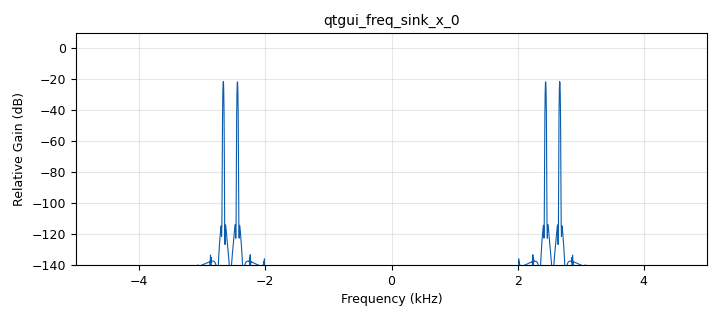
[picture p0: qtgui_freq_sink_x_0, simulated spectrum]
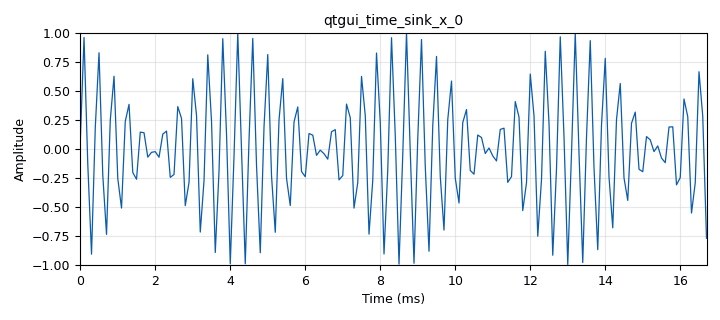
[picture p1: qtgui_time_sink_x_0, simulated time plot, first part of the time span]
options:
  parameters:
    author: Brayan_Martinez_William_Ariza_Andres_Perdomo_J1C_G5
    generate_options: qt_gui
    id: Lab_1_punto_6
    output_language: python
    title: Lab_1_punto_6_Multiply
  states: {}

blocks:
- name: freq_a
  id: variable_qtgui_range
  parameters:
    label: frecuencyA
    start: '1000'
    step: '1000'
    stop: '40000'
    value: '15000'
  states: {}
- name: freq_b
  id: variable_qtgui_range
  parameters:
    label: frecuencyB
    start: '50'
    step: '1000'
    stop: '40000'
    value: '112'
  states: {}
- name: freq_c
  id: variable_qtgui_range
  parameters:
    label: frecuencyC
    start: '1000'
    step: '1000'
    stop: '40000'
    value: '7556'
  states: {}
- name: samp_rate
  id: variable_qtgui_range
  parameters:
    label: frecuencia de muestreo
    start: '1000'
    step: '1000'
    stop: '80000'
    value: '10000'
  states: {}
- name: analog_sig_source_x_0
  id: analog_sig_source_x
  parameters:
    amp: '1'
    freq: freq_a
    offset: '0'
    phase: '0'
    samp_rate: samp_rate
    type: float
    waveform: analog.GR_COS_WAVE
  states: {}
- name: analog_sig_source_x_0_0
  id: analog_sig_source_x
  parameters:
    amp: '1'
    freq: freq_b
    offset: '0'
    phase: '0'
    samp_rate: samp_rate
    type: float
    waveform: analog.GR_COS_WAVE
  states: {}
- name: analog_sig_source_x_0_0_0
  id: analog_sig_source_x
  parameters:
    amp: '1'
    freq: freq_c
    offset: '0'
    phase: '0'
    samp_rate: samp_rate
    type: float
    waveform: analog.GR_COS_WAVE
  states: {}
- name: blocks_multiply_xx_0
  id: blocks_multiply_xx
  parameters:
    num_inputs: '3'
    type: float
  states: {}
- name: blocks_throttle_0
  id: blocks_throttle
  parameters:
    samples_per_second: samp_rate
    type: float
  states: {}
- name: qtgui_freq_sink_x_0
  id: qtgui_freq_sink_x
  parameters:
    bw: samp_rate
    fc: '0'
    fftsize: '2048'
    type: float
  states: {}
- name: qtgui_time_sink_x_0
  id: qtgui_time_sink_x
  parameters:
    size: '1024'
    srate: samp_rate
    type: float
  states: {}

connections:
- [analog_sig_source_x_0, '0', blocks_multiply_xx_0, '0']
- [analog_sig_source_x_0_0, '0', blocks_multiply_xx_0, '1']
- [analog_sig_source_x_0_0_0, '0', blocks_multiply_xx_0, '2']
- [blocks_multiply_xx_0, '0', blocks_throttle_0, '0']
- [blocks_throttle_0, '0', qtgui_freq_sink_x_0, '0']
- [blocks_throttle_0, '0', qtgui_time_sink_x_0, '0']

metadata:
  file_format: 1
